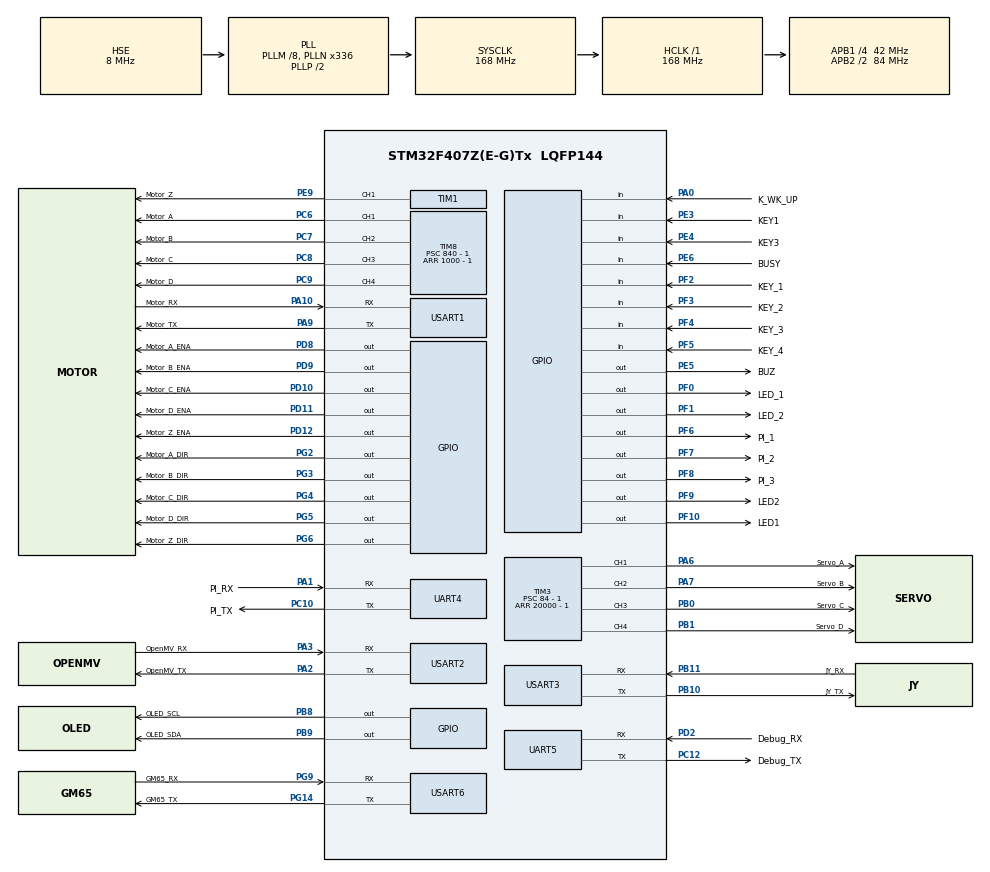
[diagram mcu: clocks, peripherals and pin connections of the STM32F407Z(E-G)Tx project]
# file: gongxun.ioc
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Dma.Request0=USART3_RX
Dma.USART3_RX.0.Direction=DMA_PERIPH_TO_MEMORY
Dma.USART3_RX.0.FIFOMode=DMA_FIFOMODE_DISABLE
Dma.USART3_RX.0.Instance=DMA1_Stream1
Dma.USART3_RX.0.MemDataAlignment=DMA_MDATAALIGN_BYTE
Dma.USART3_RX.0.MemInc=DMA_MINC_ENABLE
Dma.USART3_RX.0.Mode=DMA_NORMAL
Dma.USART3_RX.0.PeriphDataAlignment=DMA_PDATAALIGN_BYTE
Dma.USART3_RX.0.PeriphInc=DMA_PINC_DISABLE
Dma.USART3_RX.0.Priority=DMA_PRIORITY_HIGH
Mcu.Family=STM32F4
Mcu.Name=STM32F407Z(E-G)Tx
Mcu.Package=LQFP144
NVIC.DMA1_Stream1_IRQn=true\:0\:0\:false\:false\:true\:false\:true\:true
NVIC.PriorityGroup=NVIC_PRIORITYGROUP_4
NVIC.TIM6_DAC_IRQn=true\:0\:0\:false\:false\:true\:true\:true\:true
NVIC.TIM7_IRQn=true\:0\:0\:false\:false\:true\:true\:true\:true
NVIC.TIM8_UP_TIM13_IRQn=true\:0\:0\:false\:false\:true\:true\:true\:true
NVIC.UART4_IRQn=true\:0\:0\:false\:false\:true\:true\:true\:true
NVIC.UART5_IRQn=true\:0\:0\:false\:false\:true\:true\:true\:true
NVIC.USART2_IRQn=true\:0\:0\:false\:false\:true\:false\:true\:true
NVIC.USART3_IRQn=true\:0\:0\:false\:false\:true\:true\:true\:true
PA0-WKUP.GPIO_Label=K_WK_UP
PA0-WKUP.GPIO_PuPd=GPIO_PULLDOWN
PA0-WKUP.Signal=GPIO_Input
PA1.GPIO_Label=PI_RX
PA1.Mode=Asynchronous
PA1.Signal=UART4_RX
PA10.GPIO_Label=Motor_RX
PA10.Mode=Asynchronous
PA10.Signal=USART1_RX
PA13.Mode=Serial_Wire
PA13.Signal=SYS_JTMS-SWDIO
PA14.Mode=Serial_Wire
PA14.Signal=SYS_JTCK-SWCLK
PA2.GPIO_Label=OpenMV_TX
PA2.Mode=Asynchronous
PA2.Signal=USART2_TX
PA3.GPIO_Label=OpenMV_RX
PA3.Mode=Asynchronous
PA3.Signal=USART2_RX
PA6.GPIO_Label=Servo_A
PA6.Signal=S_TIM3_CH1
PA7.GPIO_Label=Servo_B
PA7.Signal=S_TIM3_CH2
PA9.GPIO_Label=Motor_TX
PA9.Mode=Asynchronous
PA9.Signal=USART1_TX
PB0.GPIO_Label=Servo_C
PB0.Signal=S_TIM3_CH3
PB1.GPIO_Label=Servo_D
PB1.Signal=S_TIM3_CH4
PB10.GPIO_Label=JY_TX
PB10.GPIO_Speed=GPIO_SPEED_FREQ_HIGH
PB10.Mode=Asynchronous
PB10.Signal=USART3_TX
PB11.GPIO_Label=JY_RX
PB11.GPIO_Speed=GPIO_SPEED_FREQ_HIGH
PB11.Mode=Asynchronous
PB11.Signal=USART3_RX
PB8.GPIO_Label=OLED_SCL
PB8.GPIO_Speed=GPIO_SPEED_FREQ_HIGH
PB8.PinState=GPIO_PIN_SET
PB8.Signal=GPIO_Output
PB9.GPIO_Label=OLED_SDA
PB9.GPIO_Speed=GPIO_SPEED_FREQ_HIGH
PB9.PinState=GPIO_PIN_SET
PB9.Signal=GPIO_Output
PC10.GPIO_Label=PI_TX
PC10.Mode=Asynchronous
PC10.Signal=UART4_TX
PC12.GPIO_Label=Debug_TX
PC12.Mode=Asynchronous
PC12.Signal=UART5_TX
PC6.GPIO_Label=Motor_A
PC6.GPIO_Speed=GPIO_SPEED_FREQ_MEDIUM
PC6.Signal=S_TIM8_CH1
PC7.GPIO_Label=Motor_B
PC7.GPIO_Speed=GPIO_SPEED_FREQ_MEDIUM
PC7.Signal=S_TIM8_CH2
PC8.GPIO_Label=Motor_C
PC8.GPIO_Speed=GPIO_SPEED_FREQ_MEDIUM
PC8.Signal=S_TIM8_CH3
PC9.GPIO_Label=Motor_D
PC9.GPIO_Speed=GPIO_SPEED_FREQ_MEDIUM
PC9.Signal=S_TIM8_CH4
PD10.GPIO_Label=Motor_C_ENA
PD10.Signal=GPIO_Output
PD11.GPIO_Label=Motor_D_ENA
PD11.Signal=GPIO_Output
PD12.GPIO_Label=Motor_Z_ENA
PD12.Signal=GPIO_Output
PD2.GPIO_Label=Debug_RX
PD2.Mode=Asynchronous
PD2.Signal=UART5_RX
PD8.GPIO_Label=Motor_A_ENA
PD8.Signal=GPIO_Output
PD9.GPIO_Label=Motor_B_ENA
PD9.Signal=GPIO_Output
PE3.GPIO_Label=KEY1
PE3.GPIO_PuPd=GPIO_PULLUP
PE3.Signal=GPIO_Input
PE4.GPIO_Label=KEY3
PE4.GPIO_PuPd=GPIO_PULLUP
PE4.Signal=GPIO_Input
PE5.GPIO_Label=BUZ
PE5.Signal=GPIO_Output
PE6.GPIO_Label=BUSY
PE6.Signal=GPIO_Input
PE9.GPIO_Label=Motor_Z
PE9.GPIO_Speed=GPIO_SPEED_FREQ_MEDIUM
PE9.Signal=S_TIM1_CH1
PF0.GPIO_Label=LED_1
PF0.PinState=GPIO_PIN_SET
PF0.Signal=GPIO_Output
PF1.GPIO_Label=LED_2
PF1.PinState=GPIO_PIN_SET
PF1.Signal=GPIO_Output
PF10.GPIO_Label=LED1
PF10.PinState=GPIO_PIN_SET
PF10.Signal=GPIO_Output
PF2.GPIO_Label=KEY_1
PF2.GPIO_PuPd=GPIO_PULLUP
PF2.Signal=GPIO_Input
PF3.GPIO_Label=KEY_2
PF3.GPIO_PuPd=GPIO_PULLUP
PF3.Signal=GPIO_Input
PF4.GPIO_Label=KEY_3
PF4.GPIO_PuPd=GPIO_PULLUP
PF4.Signal=GPIO_Input
PF5.GPIO_Label=KEY_4
PF5.GPIO_PuPd=GPIO_PULLUP
PF5.Signal=GPIO_Input
PF6.GPIO_Label=PI_1
PF6.Signal=GPIO_Output
PF7.GPIO_Label=PI_2
PF7.Signal=GPIO_Output
PF8.GPIO_Label=PI_3
PF8.Signal=GPIO_Output
PF9.GPIO_Label=LED2
PF9.PinState=GPIO_PIN_SET
PF9.Signal=GPIO_Output
PG14.GPIO_Label=GM65_TX
PG14.Mode=Asynchronous
PG14.Signal=USART6_TX
PG2.GPIO_Label=Motor_A_DIR
PG2.Signal=GPIO_Output
PG3.GPIO_Label=Motor_B_DIR
PG3.Signal=GPIO_Output
PG4.GPIO_Label=Motor_C_DIR
PG4.Signal=GPIO_Output
PG5.GPIO_Label=Motor_D_DIR
PG5.Signal=GPIO_Output
PG6.GPIO_Label=Motor_Z_DIR
PG6.Signal=GPIO_Output
PG9.GPIO_Label=GM65_RX
PG9.Mode=Asynchronous
PG9.Signal=USART6_RX
PH0-OSC_IN.Mode=HSE-External-Oscillator
PH0-OSC_IN.Signal=RCC_OSC_IN
PH1-OSC_OUT.Mode=HSE-External-Oscillator
PH1-OSC_OUT.Signal=RCC_OSC_OUT
ProjectManager.HeapSize=0x200
ProjectManager.StackSize=0x400
ProjectManager.TargetToolchain=STM32CubeIDE
RCC.48MHZClocksFreq_Value=84000000
RCC.AHBFreq_Value=168000000
RCC.APB1CLKDivider=RCC_HCLK_DIV4
RCC.APB1Freq_Value=42000000
RCC.APB1TimFreq_Value=84000000
RCC.APB2CLKDivider=RCC_HCLK_DIV2
RCC.APB2Freq_Value=84000000
RCC.APB2TimFreq_Value=168000000
RCC.CortexFreq_Value=168000000
RCC.HCLKFreq_Value=168000000
RCC.HSE_VALUE=8000000
RCC.HSI_VALUE=16000000
RCC.LSE_VALUE=32768
RCC.PLLM=8
RCC.PLLN=336
RCC.PLLSourceVirtual=RCC_PLLSOURCE_HSE
RCC.SYSCLKFreq_VALUE=168000000
RCC.SYSCLKSource=RCC_SYSCLKSOURCE_PLLCLK
RCC.VCOOutputFreq_Value=336000000
SH.S_TIM1_CH1.0=TIM1_CH1,PWM Generation1 CH1
SH.S_TIM3_CH1.0=TIM3_CH1,PWM Generation1 CH1
SH.S_TIM3_CH2.0=TIM3_CH2,PWM Generation2 CH2
SH.S_TIM3_CH3.0=TIM3_CH3,PWM Generation3 CH3
SH.S_TIM3_CH4.0=TIM3_CH4,PWM Generation4 CH4
SH.S_TIM8_CH1.0=TIM8_CH1,PWM Generation1 CH1
SH.S_TIM8_CH2.0=TIM8_CH2,PWM Generation2 CH2
SH.S_TIM8_CH3.0=TIM8_CH3,PWM Generation3 CH3
SH.S_TIM8_CH4.0=TIM8_CH4,PWM Generation4 CH4
TIM1.Channel-PWM\ Generation1\ CH1=TIM_CHANNEL_1
TIM3.AutoReloadPreload=TIM_AUTORELOAD_PRELOAD_ENABLE
TIM3.Channel-PWM\ Generation1\ CH1=TIM_CHANNEL_1
TIM3.Channel-PWM\ Generation2\ CH2=TIM_CHANNEL_2
TIM3.Channel-PWM\ Generation3\ CH3=TIM_CHANNEL_3
TIM3.Channel-PWM\ Generation4\ CH4=TIM_CHANNEL_4
TIM3.Period=20000 - 1
TIM3.Prescaler=84 - 1
TIM6.AutoReloadPreload=TIM_AUTORELOAD_PRELOAD_ENABLE
TIM6.Period=100 - 1
TIM6.Prescaler=8400 - 1
TIM7.AutoReloadPreload=TIM_AUTORELOAD_PRELOAD_ENABLE
TIM7.Period=100 - 1
TIM7.Prescaler=8400 - 1
TIM8.Channel-PWM\ Generation1\ CH1=TIM_CHANNEL_1
TIM8.Channel-PWM\ Generation2\ CH2=TIM_CHANNEL_2
TIM8.Channel-PWM\ Generation3\ CH3=TIM_CHANNEL_3
TIM8.Channel-PWM\ Generation4\ CH4=TIM_CHANNEL_4
TIM8.Period=1000 - 1
TIM8.Prescaler=840 - 1
TIM8.Pulse-PWM\ Generation1\ CH1=500 - 1
TIM8.Pulse-PWM\ Generation2\ CH2=500 - 1
TIM8.Pulse-PWM\ Generation3\ CH3=500 - 1
TIM8.Pulse-PWM\ Generation4\ CH4=500 - 1
UART4.VirtualMode=Asynchronous
UART5.VirtualMode=Asynchronous
USART1.VirtualMode=VM_ASYNC
USART2.VirtualMode=VM_ASYNC
USART3.VirtualMode=VM_ASYNC
USART6.VirtualMode=VM_ASYNC
VP_TIM1_VS_ClockSourceINT.Mode=Internal
VP_TIM3_VS_ClockSourceINT.Mode=Internal
VP_TIM6_VS_ClockSourceINT.Mode=Enable_Timer
VP_TIM7_VS_ClockSourceINT.Mode=Enable_Timer
VP_TIM8_VS_ClockSourceINT.Mode=Internal
board=custom

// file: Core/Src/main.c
/* USER CODE BEGIN Header */
/**
  ******************************************************************************
  * @file           : main.c
  * @brief          : Main program body
  ******************************************************************************
  * @attention
  *
  * Copyright (c) 2024 STMicroelectronics.
  * All rights reserved.
  *
  * This software is licensed under terms that can be found in the LICENSE file
  * in the root directory of this software component.
  * If no LICENSE file comes with this software, it is provided AS-IS.
  *
  ******************************************************************************
  */
/* USER CODE END Header */
#include "main.h"
#include "dma.h"
#include "tim.h"
#include "usart.h"
#include "gpio.h"

/* USER CODE BEGIN Includes */
#include "Bsp.h"
#include "led.h"
/* USER CODE END Includes */

void SystemClock_Config(void);

int main(void)
{

  /* USER CODE BEGIN 1 */
    RetargetInit(&huart5);
    Bsp_Init();
  /* USER CODE END 1 */

  /* MCU Configuration--------------------------------------------------------*/

  /* Reset of all peripherals, Initializes the Flash interface and the Systick. */
  HAL_Init();

  /* Configure the system clock */
  SystemClock_Config();

  /* Initialize all configured peripherals */
  MX_GPIO_Init();
  MX_DMA_Init();
  MX_USART1_UART_Init();
  MX_USART2_UART_Init();
  MX_USART3_UART_Init();
  MX_TIM8_Init();
  MX_TIM3_Init();
  MX_TIM6_Init();
  MX_UART4_Init();
  MX_UART5_Init();
  MX_USART6_UART_Init();
  MX_TIM1_Init();
  MX_TIM7_Init();
  /* USER CODE BEGIN 2 */

    printf("Start OK!r\n");
    uint8_t time = 0;
    uint8_t flag = 0;

    Car_Task_Data_0 = 1;
    Car_Task_Data_1 = -21;
    Car_Task_Data_2 = 0;
    printf("send!\r\n");

    //y轴偏移65个单位
//    Car_Task_Data_0 = 1;
//    Car_Task_Data_1 = 0;
//    Car_Task_Data_2 = 65;

  /* USER CODE END 2 */

  /* Infinite loop */
    while (1) {

    /* USER CODE BEGIN 3 */

        //Tack_mode();

//        printf(" x : %.2f", JY901_data.angle.angle[0]);
//        printf(" y : %.2f", JY901_data.angle.angle[1]);
//        printf(" z : %.2f \r\n", JY901_data.angle.angle[2]);

//        printf(" x : %d +",OpennMv_Data.x);
//        printf(" y : %d +",OpennMv_Data.y);
//        printf(" w : %d +",OpennMv_Data.w);
//        printf(" h : %d +\r\n",OpennMv_Data.h);

        Delay_ms(100);
        time++;
        if (time / 5) {
            LED1_TOGGLE();
            time = 0;
        }

        Control_Proc();

    }
  /* USER CODE END 3 */
}

void SystemClock_Config(void)
{
  RCC_OscInitTypeDef RCC_OscInitStruct = {0};
  RCC_ClkInitTypeDef RCC_ClkInitStruct = {0};

  /** Configure the main internal regulator output voltage
  */
  __HAL_RCC_PWR_CLK_ENABLE();
  __HAL_PWR_VOLTAGESCALING_CONFIG(PWR_REGULATOR_VOLTAGE_SCALE1);

  /** Initializes the RCC Oscillators according to the specified parameters
  * in the RCC_OscInitTypeDef structure.
  */
  RCC_OscInitStruct.OscillatorType = RCC_OSCILLATORTYPE_HSE;
  RCC_OscInitStruct.HSEState = RCC_HSE_ON;
  RCC_OscInitStruct.PLL.PLLState = RCC_PLL_ON;
  RCC_OscInitStruct.PLL.PLLSource = RCC_PLLSOURCE_HSE;
  RCC_OscInitStruct.PLL.PLLM = 8;
  RCC_OscInitStruct.PLL.PLLN = 336;
  RCC_OscInitStruct.PLL.PLLP = RCC_PLLP_DIV2;
  RCC_OscInitStruct.PLL.PLLQ = 4;
  if (HAL_RCC_OscConfig(&RCC_OscInitStruct) != HAL_OK)
  {
    Error_Handler();
  }

  /** Initializes the CPU, AHB and APB buses clocks
  */
  RCC_ClkInitStruct.ClockType = RCC_CLOCKTYPE_HCLK|RCC_CLOCKTYPE_SYSCLK
                              |RCC_CLOCKTYPE_PCLK1|RCC_CLOCKTYPE_PCLK2;
  RCC_ClkInitStruct.SYSCLKSource = RCC_SYSCLKSOURCE_PLLCLK;
  RCC_ClkInitStruct.AHBCLKDivider = RCC_SYSCLK_DIV1;
  RCC_ClkInitStruct.APB1CLKDivider = RCC_HCLK_DIV4;
  RCC_ClkInitStruct.APB2CLKDivider = RCC_HCLK_DIV2;

  if (HAL_RCC_ClockConfig(&RCC_ClkInitStruct, FLASH_LATENCY_5) != HAL_OK)
  {
    Error_Handler();
  }
}

void Error_Handler(void)
{
  /* USER CODE BEGIN Error_Handler_Debug */
    /* User can add his own implementation to report the HAL error return state */
    __disable_irq();
    while (1) {
        printf("Error !\r\n");
        HAL_Delay(1000);
    }
  /* USER CODE END Error_Handler_Debug */
}
